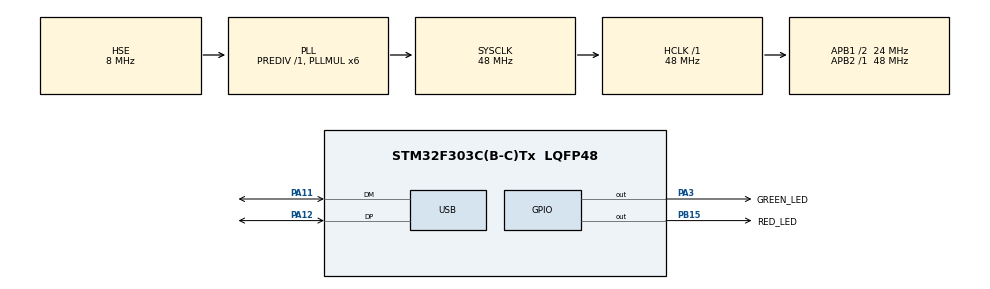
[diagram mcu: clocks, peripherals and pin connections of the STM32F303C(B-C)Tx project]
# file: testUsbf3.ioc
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Mcu.Family=STM32F3
Mcu.Name=STM32F303C(B-C)Tx
Mcu.Package=LQFP48
NVIC.PriorityGroup=NVIC_PRIORITYGROUP_4
NVIC.USB_LP_CAN_RX0_IRQn=true\:0\:0\:false\:false\:true\:false\:true
PA11.Mode=Device
PA11.Signal=USB_DM
PA12.Mode=Device
PA12.Signal=USB_DP
PA3.GPIO_Label=GREEN_LED
PA3.Signal=GPIO_Output
PB15.GPIO_Label=RED_LED
PB15.Signal=GPIO_Output
PF0-OSC_IN.Mode=HSE-External-Oscillator
PF0-OSC_IN.Signal=RCC_OSC_IN
PF1-OSC_OUT.Mode=HSE-External-Oscillator
PF1-OSC_OUT.Signal=RCC_OSC_OUT
ProjectManager.HeapSize=0x400
ProjectManager.StackSize=0x400
ProjectManager.TargetToolchain=MDK-ARM V5
RCC.AHBFreq_Value=48000000
RCC.APB1CLKDivider=RCC_HCLK_DIV2
RCC.APB1Freq_Value=24000000
RCC.APB1TimFreq_Value=48000000
RCC.APB2Freq_Value=48000000
RCC.APB2TimFreq_Value=48000000
RCC.CortexFreq_Value=48000000
RCC.HCLKFreq_Value=48000000
RCC.HSE_VALUE=8000000
RCC.HSI_VALUE=8000000
RCC.LSE_VALUE=32768
RCC.PLLMUL=RCC_PLL_MUL6
RCC.SYSCLKFreq_VALUE=48000000
RCC.SYSCLKSourceVirtual=RCC_SYSCLKSOURCE_PLLCLK
RCC.USBFreq_Value=48000000
USB_DEVICE.CLASS_NAME_FS=CDC
USB_DEVICE.USBD_MAX_STR_DESC_SIZ=256
USB_DEVICE.VirtualMode=Cdc
USB_DEVICE.VirtualModeFS=Cdc_FS
VP_USB_DEVICE_VS_USB_DEVICE_CDC_FS.Mode=CDC_FS
board=custom

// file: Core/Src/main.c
/* USER CODE BEGIN Header */
/**
  ******************************************************************************
  * @file           : main.c
  * @brief          : Main program body
  ******************************************************************************
  * @attention
  *
  * <h2><center>&copy; Copyright (c) 2021 STMicroelectronics.
  * All rights reserved.</center></h2>
  *
  * This software component is licensed by ST under Ultimate Liberty license
  * SLA0044, the "License"; You may not use this file except in compliance with
  * the License. You may obtain a copy of the License at:
  *                             www.st.com/SLA0044
  *
  ******************************************************************************
  */
/* USER CODE END Header */
#include "main.h"
#include "usb_device.h"

/* USER CODE BEGIN Includes */
#include "usbd_cdc_if.h"

/* USER CODE END Includes */

/* USER CODE BEGIN PV */
uint8_t i = 0;
char str_rx[21];
/* USER CODE END PV */

void SystemClock_Config(void);
static void MX_GPIO_Init(void);

int main(void)
{
  /* USER CODE BEGIN 1 */
	char str_tx[21];

  /* USER CODE END 1 */

  /* MCU Configuration--------------------------------------------------------*/

  /* Reset of all peripherals, Initializes the Flash interface and the Systick. */
  HAL_Init();

  /* Configure the system clock */
  SystemClock_Config();

  /* Initialize all configured peripherals */
  MX_GPIO_Init();
  MX_USB_DEVICE_Init();

  /* Infinite loop */
  while (1)
  {

    /* USER CODE BEGIN 3 */
		//new_str = strcat(str_rx, "\r\n");

		strcat(str_tx, str_rx);
		sprintf(str_tx, "%s", str_rx);
		CDC_Transmit_FS((uint8_t*)str_tx, strlen(str_tx));

		if (str_rx[0] == 'G'){
			HAL_GPIO_WritePin(GREEN_LED_GPIO_Port, GREEN_LED_Pin, GPIO_PIN_SET);
		}

		if (str_rx[0] == 'g'){
			HAL_GPIO_WritePin(GREEN_LED_GPIO_Port, GREEN_LED_Pin, GPIO_PIN_RESET);
		}

		if (str_rx[0] == 'R'){
			HAL_GPIO_WritePin(RED_LED_GPIO_Port, RED_LED_Pin, GPIO_PIN_SET);
		}

		if (str_rx[0] == 'r'){
			HAL_GPIO_WritePin(RED_LED_GPIO_Port, RED_LED_Pin, GPIO_PIN_RESET);
		}

		HAL_Delay(1000);
  }
  /* USER CODE END 3 */
}

void SystemClock_Config(void)
{
  RCC_OscInitTypeDef RCC_OscInitStruct = {0};
  RCC_ClkInitTypeDef RCC_ClkInitStruct = {0};
  RCC_PeriphCLKInitTypeDef PeriphClkInit = {0};

  /** Initializes the RCC Oscillators according to the specified parameters
  * in the RCC_OscInitTypeDef structure.
  */
  RCC_OscInitStruct.OscillatorType = RCC_OSCILLATORTYPE_HSE;
  RCC_OscInitStruct.HSEState = RCC_HSE_ON;
  RCC_OscInitStruct.HSEPredivValue = RCC_HSE_PREDIV_DIV1;
  RCC_OscInitStruct.HSIState = RCC_HSI_ON;
  RCC_OscInitStruct.PLL.PLLState = RCC_PLL_ON;
  RCC_OscInitStruct.PLL.PLLSource = RCC_PLLSOURCE_HSE;
  RCC_OscInitStruct.PLL.PLLMUL = RCC_PLL_MUL6;
  if (HAL_RCC_OscConfig(&RCC_OscInitStruct) != HAL_OK)
  {
    Error_Handler();
  }
  /** Initializes the CPU, AHB and APB buses clocks
  */
  RCC_ClkInitStruct.ClockType = RCC_CLOCKTYPE_HCLK|RCC_CLOCKTYPE_SYSCLK
                              |RCC_CLOCKTYPE_PCLK1|RCC_CLOCKTYPE_PCLK2;
  RCC_ClkInitStruct.SYSCLKSource = RCC_SYSCLKSOURCE_PLLCLK;
  RCC_ClkInitStruct.AHBCLKDivider = RCC_SYSCLK_DIV1;
  RCC_ClkInitStruct.APB1CLKDivider = RCC_HCLK_DIV2;
  RCC_ClkInitStruct.APB2CLKDivider = RCC_HCLK_DIV1;

  if (HAL_RCC_ClockConfig(&RCC_ClkInitStruct, FLASH_LATENCY_1) != HAL_OK)
  {
    Error_Handler();
  }
  PeriphClkInit.PeriphClockSelection = RCC_PERIPHCLK_USB;
  PeriphClkInit.USBClockSelection = RCC_USBCLKSOURCE_PLL;
  if (HAL_RCCEx_PeriphCLKConfig(&PeriphClkInit) != HAL_OK)
  {
    Error_Handler();
  }
}

static void MX_GPIO_Init(void)
{
  GPIO_InitTypeDef GPIO_InitStruct = {0};

  /* GPIO Ports Clock Enable */
  __HAL_RCC_GPIOF_CLK_ENABLE();
  __HAL_RCC_GPIOA_CLK_ENABLE();
  __HAL_RCC_GPIOB_CLK_ENABLE();

  /*Configure GPIO pin Output Level */
  HAL_GPIO_WritePin(GREEN_LED_GPIO_Port, GREEN_LED_Pin, GPIO_PIN_RESET);

  /*Configure GPIO pin Output Level */
  HAL_GPIO_WritePin(RED_LED_GPIO_Port, RED_LED_Pin, GPIO_PIN_RESET);

  /*Configure GPIO pin : GREEN_LED_Pin */
  GPIO_InitStruct.Pin = GREEN_LED_Pin;
  GPIO_InitStruct.Mode = GPIO_MODE_OUTPUT_PP;
  GPIO_InitStruct.Pull = GPIO_NOPULL;
  GPIO_InitStruct.Speed = GPIO_SPEED_FREQ_LOW;
  HAL_GPIO_Init(GREEN_LED_GPIO_Port, &GPIO_InitStruct);

  /*Configure GPIO pin : RED_LED_Pin */
  GPIO_InitStruct.Pin = RED_LED_Pin;
  GPIO_InitStruct.Mode = GPIO_MODE_OUTPUT_PP;
  GPIO_InitStruct.Pull = GPIO_NOPULL;
  GPIO_InitStruct.Speed = GPIO_SPEED_FREQ_LOW;
  HAL_GPIO_Init(RED_LED_GPIO_Port, &GPIO_InitStruct);

}

void Error_Handler(void)
{
  __disable_irq();
  while (1)
  {
  }
}

/************************ (C) COPYRIGHT STMicroelectronics *****END OF FILE****/
